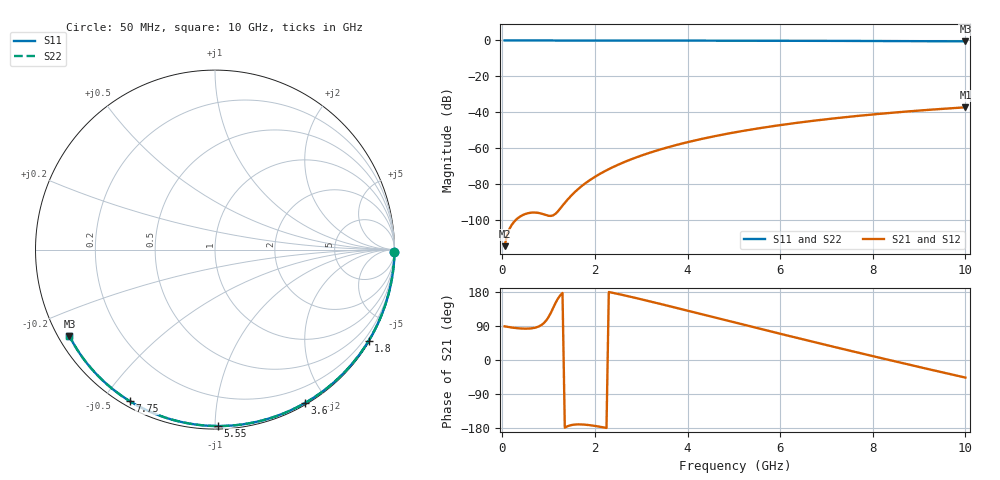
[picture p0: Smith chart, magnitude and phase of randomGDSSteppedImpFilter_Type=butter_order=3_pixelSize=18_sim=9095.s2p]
! freq	dB(S11)	phase(S11)	dB(S12)	phase(S12)
!  dB(S21)	phase(S21)	dB(S22)	phase(S22)
!S-par simulation data
#  GHz  S  DB  R 50
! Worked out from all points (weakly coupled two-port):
!   200 points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, 50 MHz to 10 GHz, reference 50 ohm
!   highest |S21| = -37.21 dB at 10 GHz (marker M1); lowest = -114.5 dB at 50 MHz (marker M2)
!   lowest |S11| = -0.5 dB at 10 GHz (marker M3), VSWR 34.43, Z = 1.56 - j13.7 ohm
!   |S11| at or under -10 dB: nowhere
!   |S22| runs from -0.5 to 0.0 dB; largest |S21 - S12| = 0
!   S11 on the Smith chart (normalised r, x): 50 MHz: open; 1.8 GHz: 0.03, -3.65; 3.6 GHz: 0.02, -1.74; 5.55 GHz: 0.02, -1.02; 7.75 GHz: 0.02, -0.58; 10 GHz: 0.03, -0.27
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0.05  -0.00 -0.9  -114.46 88.8  -114.46 88.8  -0.00 -0.9
0.45  -0.01 -7.8  -97.05 82.8  -97.05 82.8  -0.01 -7.8
0.9  -0.02 -15.5  -96.78 97.7  -96.78 97.7  -0.02 -15.5
1.3  -0.03 -22.3  -91.94 176.9  -91.94 176.9  -0.03 -22.3
1.75  -0.04 -29.8  -80.31 -170.3  -80.31 -170.3  -0.04 -29.8
1.8  -0.04 -30.7  -79.34 -170.8  -79.34 -170.8  -0.04 -30.7
1.95  -0.04 -33.2  -76.69 -173.0  -76.69 -173.0  -0.04 -33.2
2.1  -0.05 -35.6  -74.35 -175.9  -74.35 -175.9  -0.05 -35.6
2.3  -0.05 -38.9  -71.59 179.4  -71.59 179.4  -0.05 -38.9
2.5  -0.05 -42.2  -69.15 174.3  -69.15 174.3  -0.05 -42.2
2.9  -0.06 -48.7  -64.99 163.1  -64.99 163.1  -0.06 -48.7
3.4  -0.08 -56.6  -60.74 148.4  -60.74 148.4  -0.08 -56.6
3.6  -0.08 -59.8  -59.26 142.4  -59.26 142.4  -0.08 -59.8
4.3  -0.10 -70.6  -54.82 121.0  -54.82 121.0  -0.10 -70.6
5.05  -0.13 -81.7  -50.99 98.1  -50.99 98.1  -0.13 -81.7
5.55  -0.15 -89.0  -48.83 82.9  -48.83 82.9  -0.15 -89.0
6.1  -0.17 -96.8  -46.74 66.3  -46.74 66.3  -0.17 -96.8
6.7  -0.21 -105.1  -44.74 48.3  -44.74 48.3  -0.21 -105.1
7.75  -0.28 -119.4  -41.79 17.5  -41.79 17.5  -0.28 -119.4
8.35  -0.33 -127.4  -40.37 0.1  -40.37 0.1  -0.33 -127.4
9.2  -0.41 -138.6  -38.61 -24.0  -38.61 -24.0  -0.41 -138.6
10  -0.50 -149.3  -37.21 -46.4  -37.21 -46.4  -0.50 -149.3
